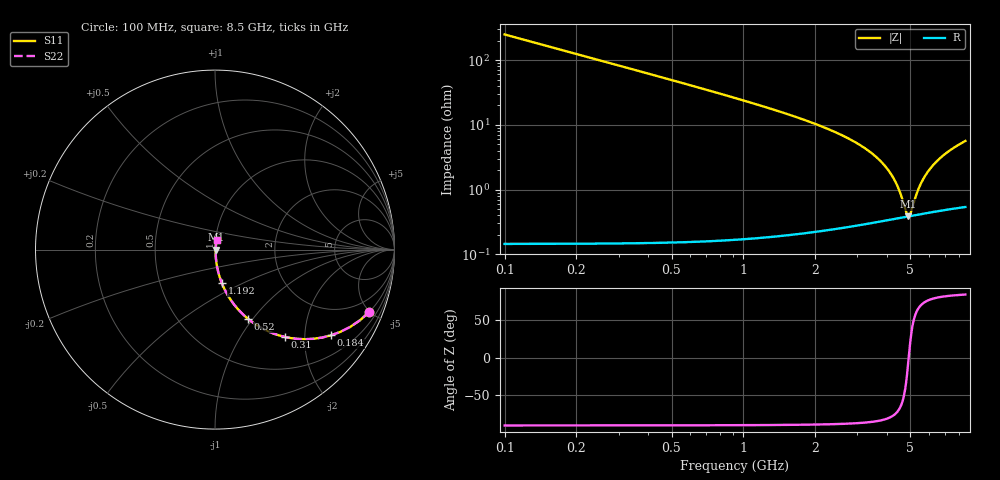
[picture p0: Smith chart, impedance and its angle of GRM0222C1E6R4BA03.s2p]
!Murata Part Number: GRM0222C1E6R4BA03
!These Parameters are Measured in Series Mode Connection
!Data Generated on Mar 30, 2021
!  o--ll--o
!Port1  Port2
!  o------o
!Operation Temp=25[degC], DC Bias Voltage=0[V]
!Freq. Start=100[MHz] Stop=9[GHz] 401[Steps]
# Hz S RI R 50
!Freq.(Hz) S11(Real) S11(Imag) S21(Real) S21(Imag) S12(Real) S12(Imag) S22(Real) S22(Imag)
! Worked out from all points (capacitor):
!   401 points, 100 MHz to 8.5 GHz, reference 50 ohm
!   read as one part in series: C = 6.4 pF near 142 MHz
!   lowest |Z| = 386 mohm at 4.909 GHz (marker M1)
!   series resonance near 4.919 GHz, so ESL is about 160 pH
!   S11 on the Smith chart (normalised r, x): 100 MHz: 1.00, -4.97; 184 MHz: 1.00, -2.70; 310 MHz: 1.00, -1.60; 520 MHz: 1.00, -0.95; 1.192 GHz: 1.00, -0.39; 8.5 GHz: 1.01, +0.11
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1e8  0.8606 -0.3461  0.1394 0.3461  0.1394 0.3461  0.8606 -0.3461
1.84e8  0.6454 -0.4779  0.3546 0.4779  0.3546 0.4779  0.6454 -0.4779
2.47e8  0.5021 -0.4993  0.4979 0.4993  0.4979 0.4993  0.5021 -0.4993
3.1e8  0.3897 -0.4868  0.6103 0.4868  0.6103 0.4868  0.3897 -0.4868
4.15e8  0.2618 -0.4384  0.7382 0.4384  0.7382 0.4384  0.2618 -0.4384
5.2e8  0.1834 -0.3854  0.8166 0.3854  0.8166 0.3854  0.1834 -0.3854
7.72e8  0.0908 -0.2848  0.9092 0.2848  0.9092 0.2848  0.0908 -0.2848
1.192e9  0.0385 -0.188  0.9615 0.188  0.9615 0.188  0.0385 -0.188
1.507e9  0.0235 -0.1451  0.9765 0.1451  0.9765 0.1451  0.0235 -0.1451
2.914e9  0.00569 -0.0543  0.9943 0.0543  0.9943 0.0543  0.00569 -0.0543
3.754e9  0.00394 -0.0271  0.9961 0.0271  0.9961 0.0271  0.00394 -0.0271
4.048e9  0.00374 -0.0194  0.9963 0.0194  0.9963 0.0194  0.00374 -0.0194
4.3e9  0.00368 -0.0133  0.9963 0.0133  0.9963 0.0133  0.00368 -0.0133
4.531e9  0.0037 -0.0081  0.9963 0.0081  0.9963 0.0081  0.0037 -0.0081
4.825e9  0.0038 -0.0019  0.9962 0.0019  0.9962 0.0019  0.0038 -0.0019
4.909e9  0.00384 -0.000204  0.9962 0.000204  0.9962 0.000204  0.00384 -0.000204
5.014e9  0.00389 0.00187  0.9961 -0.00187  0.9961 -0.00187  0.00389 0.00187
5.392e9  0.00417 0.009  0.9958 -0.009  0.9958 -0.009  0.00417 0.009
5.707e9  0.00445 0.0146  0.9955 -0.0146  0.9955 -0.0146  0.00445 0.0146
6.295e9  0.00511 0.0243  0.9949 -0.0243  0.9949 -0.0243  0.00511 0.0243
7.114e9  0.00621 0.0366  0.9938 -0.0366  0.9938 -0.0366  0.00621 0.0366
8.5e9  0.00843 0.0553  0.9916 -0.0553  0.9916 -0.0553  0.00843 0.0553
